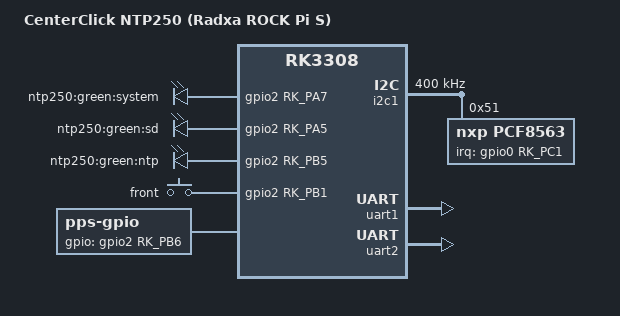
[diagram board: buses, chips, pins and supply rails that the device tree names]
// SPDX-License-Identifier: (GPL-2.0+ OR MIT)
/*
 * CenterClick NTP250 rev 10: Radxa ROCK Pi S V1.3 on the CHRONOS V10
 * carrier.  Pin sources: NOTES.md "Pin map" (stock DTB
 * rk3308-rock-pi-s-chronos.dtb).
 */

/dts-v1/;

#include <dt-bindings/input/input.h>
#include "rk3308-rock-pi-s.dts"

/ {
	model = "CenterClick NTP250 (Radxa ROCK Pi S)";
	compatible = "centerclick,ntp250", "radxa,rockpis", "rockchip,rk3308";

	aliases {
		rtc0 = &pcf8563;
	};

	carrier-leds {
		compatible = "gpio-leds";

		led-system {
			label = "ntp250:green:system";
			gpios = <&gpio2 RK_PA7 GPIO_ACTIVE_HIGH>;
			linux,default-trigger = "heartbeat";
		};

		led-sd {
			label = "ntp250:green:sd";
			gpios = <&gpio2 RK_PA5 GPIO_ACTIVE_HIGH>;
			linux,default-trigger = "mmc1";
		};

		led-ntp {
			label = "ntp250:green:ntp";
			gpios = <&gpio2 RK_PB5 GPIO_ACTIVE_HIGH>;
			default-state = "off";
		};
	};

	gpio-keys {
		compatible = "gpio-keys";
		pinctrl-names = "default";
		pinctrl-0 = <&button_front_pin>;

		/* SW1: high while pressed, pulled down when idle (measured). */
		button-front {
			label = "front";
			linux,code = <KEY_PROG1>;
			gpios = <&gpio2 RK_PB1 GPIO_ACTIVE_HIGH>;
		};
	};

	pps {
		compatible = "pps-gpio";
		pinctrl-names = "default";
		pinctrl-0 = <&pps_pin>;
		gpios = <&gpio2 RK_PB6 GPIO_ACTIVE_HIGH>;
	};
};

/*
 * Carrier signals by name, for libgpiod.  Outputs (gps-nreset,
 * gps-reset, hdr-ppsout-en) stay free for userspace: ntp250-gpio-init
 * sets their idle levels at boot, ntp250-gps-reset pulses them.  Other
 * names follow the upstream ROCK Pi S DTS.
 */
&gpio0 {
	gpio-line-names =
		/* GPIO0_A0 - A7 */
		"", "", "", "", "", "", "", "",
		/* GPIO0_B0 - B7 */
		"", "", "", "header1-pin3 [GPIO0_B3]",
		"header1-pin5 [GPIO0_B4]", "", "",
		"barrel-mech",
		/* GPIO0_C0 - C7 */
		"header1-pin13 [GPIO0_C0]", "rtc-int", "", "", "",
		"", "", "",
		/* GPIO0_D0 - D7 */
		"", "", "", "", "", "", "", "";
};

&gpio2 {
	gpio-line-names =
		/* GPIO2_A0 - A7 */
		"header1-pin10 [GPIO2_A0]", "header1-pin8 [GPIO2_A1]",
		"", "",
		"hdr-ppsout-en", "led-sd",
		"header2-pin46 [GPIO2_A6]", "led-system",
		/* GPIO2_B0 - B7 */
		"header2-pin45 [GPIO2_B0]", "button-front",
		"poe-sense", "header2-pin44 [GPIO2_B3]",
		"header2-pin43 [GPIO2_B4]", "led-ntp",
		"gps-pps", "gps-nreset",
		/* GPIO2_C0 - C7 */
		"gps-reset", "", "", "", "", "", "", "",
		/* GPIO2_D0 - D7 */
		"", "", "", "", "", "", "", "";
};

/*
 * ROCK Pi S V1.3: vccio2 (UART0, carrier GPIO2 signals) and vccio3 run at
 * 1.8 V, as in the stock DTB.  The upstream board DTS says 3.3 V; with
 * vccio2 in 3.3 V mode, UART0 TX stays silent.
 */
&io_domains {
	vccio2-supply = <&vcc_1v8>;
	vccio3-supply = <&vcc_1v8>;
};

/* No eMMC or SD-NAND fitted on this module. */
&emmc {
	status = "disabled";
};

&i2c1 {
	clock-frequency = <400000>;

	pcf8563: rtc@51 {
		compatible = "nxp,pcf8563";
		reg = <0x51>;
		pinctrl-names = "default";
		pinctrl-0 = <&rtc_int>;
		interrupt-parent = <&gpio0>;
		interrupts = <RK_PC1 IRQ_TYPE_LEVEL_LOW>;
		#clock-cells = <0>;
	};
};

&pinctrl {
	ntp250 {
		pps_pin: pps-pin {
			rockchip,pins = <2 RK_PB6 RK_FUNC_GPIO &pcfg_pull_none>;
		};

		button_front_pin: button-front-pin {
			rockchip,pins = <2 RK_PB1 RK_FUNC_GPIO &pcfg_pull_down>;
		};

		rtc_int: rtc-int {
			rockchip,pins = <0 RK_PC1 RK_FUNC_GPIO &pcfg_pull_up>;
		};
	};
};

/* GPS.  TX/RX only: uart1's RTS/CTS pins are uart2m0 (CH340N console). */
&uart1 {
	pinctrl-0 = <&uart1_xfer>;
	status = "okay";
};

/* CH340N, carrier micro-USB "Console". */
&uart2 {
	status = "okay";
};

/*
 * Unused Wi-Fi (SDIO) and Bluetooth (uart4), disabled as in the stock DTB.
 * sdio_pwrseq stays: it holds the RTL8723DS in reset.
 */
&sdio {
	status = "disabled";
};

&uart4 {
	status = "disabled";
};
